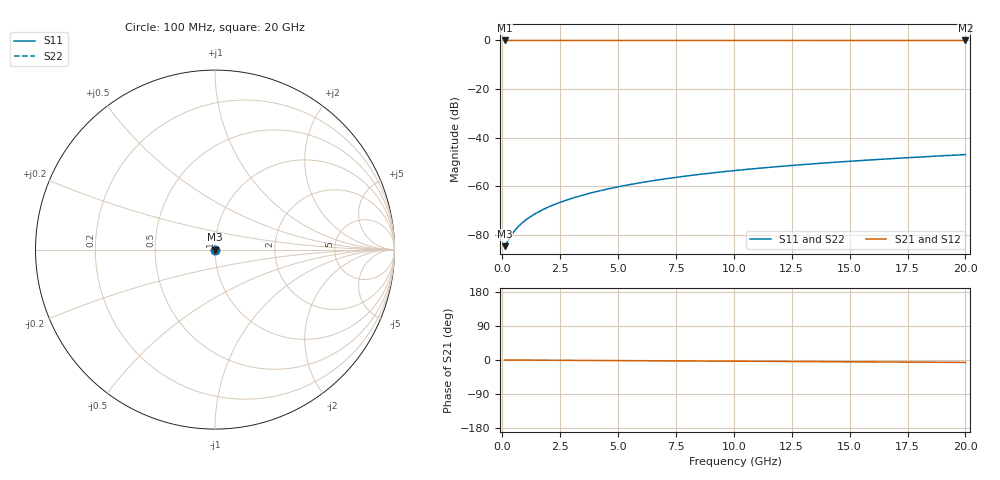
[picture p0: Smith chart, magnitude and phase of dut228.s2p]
! Touchstone file exported from HFSS 2026.1.0
!  File:  C:/ffzhzh/LocalFiles/Ansys_Project_Files/temp_train_TSV_228_1782992339_6248.aedt
!  Generated:  07:40:25 PM Jul  2, 2026
!  Design:  TSV
!  Project:  temp_train_TSV_228_1782992339_6248
! Variables:
!  h_bsmrdl = 2um
!  h_ox = 20um
!  h_rdl = 5um
!  h_sub = 58.73um
!  h_tmrdl = 5um
!  h_tsv = 58.73um
!  h_via = 3um
!  l_bsmrdl = 300um
!  l_sub = 429.78um
!  l_tmrdl = 200um
!  m_sub = 200um
!  pitch = 56.33um
!  r_tsv = 14.89um
!  s_tmrdl = 10um
!  w_bsmrdl = 18um
!  w_sub = 500um
!  w_tmrdl = 12um
!  x_tsv_center1 = 206um
!  x_tsv_center2 = 524um
!  x_tsv_center3 = 736um
!  x_tsv_center4 = 1054um
!  x_tsv_center5 = 1266um
!  x_tsv_center6 = 1584um
# GHz S MA R 50.000000
! Terminal data exported
! Port[1] = TSV1_1_T1
! Port[2] = TSV1_1_T2
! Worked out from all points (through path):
!   200 points, 100 MHz to 20 GHz, reference 50 ohm
!   highest |S21| = 0.00 dB at 100 MHz (marker M1); lowest = 0.0 dB at 20 GHz (marker M2)
!   lowest |S11| = -84.6 dB at 100 MHz (marker M3), VSWR 1.00, Z = 50 + j0.00086 ohm
!   |S11| at or under -10 dB: start of sweep to end of sweep
!   |S22| runs from -84.6 to -46.9 dB; largest |S21 - S12| = 6.3e-15
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0.1  5.902e-05 8.4  0.9999 -0.0  0.9999 -0.0  5.902e-05 8.4
! Gamma 0 0 0 0
! Port Impedance 50 0 50 0
0.4  0.0001005 6.9  0.9999 -0.1  0.9999 -0.1  0.0001005 6.9
0.6  0.000134 -3.8  0.9999 -0.2  0.9999 -0.2  0.000134 -3.8
0.7  0.0001509 -9.3  0.9999 -0.2  0.9999 -0.2  0.0001509 -9.2
0.9  0.0001847 -19.1  0.9998 -0.3  0.9998 -0.3  0.0001847 -19.1
1.1  0.0002186 -27.3  0.9998 -0.4  0.9998 -0.4  0.0002186 -27.3
1.3  0.000253 -33.9  0.9998 -0.4  0.9998 -0.4  0.000253 -33.9
1.7  0.0003233 -43.7  0.9998 -0.5  0.9998 -0.5  0.0003233 -43.7
2.1  0.0003959 -50.4  0.9997 -0.7  0.9997 -0.7  0.0003959 -50.4
2.5  0.0004706 -55.2  0.9997 -0.8  0.9997 -0.8  0.0004706 -55.2
3  0.0005669 -59.6  0.9997 -1.0  0.9997 -1.0  0.0005669 -59.6
3.5  0.0006662 -62.7  0.9997 -1.1  0.9997 -1.1  0.0006662 -62.7
4.2  0.0008097 -66.1  0.9997 -1.3  0.9997 -1.3  0.0008097 -66.1
5  0.000979 -68.9  0.9996 -1.6  0.9996 -1.6  0.0009791 -68.9
5.9  0.001175 -71.3  0.9996 -1.9  0.9996 -1.9  0.001175 -71.3
6.8  0.001375 -73.3  0.9996 -2.2  0.9996 -2.2  0.001375 -73.3
8.3  0.001716 -76.0  0.9995 -2.6  0.9995 -2.6  0.001716 -76.0
10.1  0.002131 -78.5  0.9995 -3.2  0.9995 -3.2  0.002131 -78.5
11.7  0.002504 -80.3  0.9994 -3.7  0.9994 -3.7  0.002504 -80.3
13.4  0.002904 -81.9  0.9994 -4.3  0.9994 -4.3  0.002904 -81.9
16.7  0.003694 -84.5  0.9993 -5.3  0.9993 -5.3  0.003694 -84.5
20  0.004503 -86.6  0.9992 -6.3  0.9992 -6.3  0.004503 -86.5
